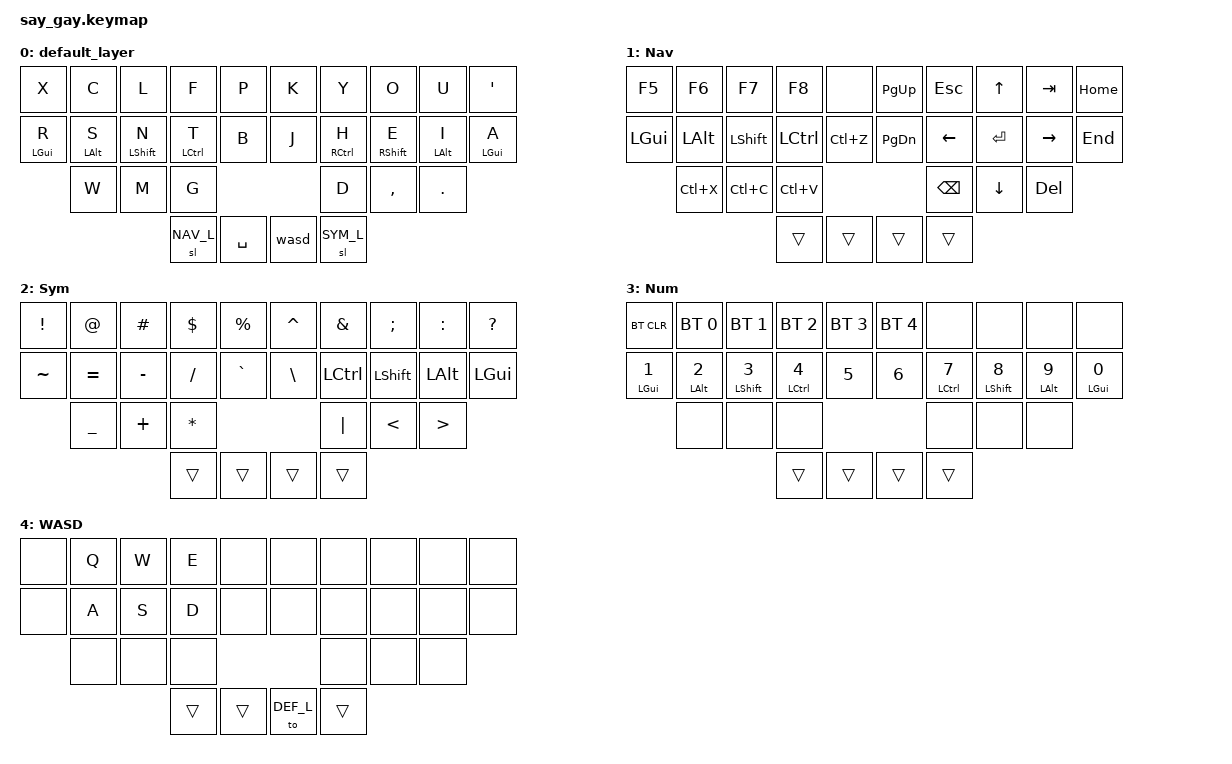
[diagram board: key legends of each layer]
/*
 * Copyright (c) 2020 The ZMK Contributors
 *
 * SPDX-License-Identifier: MIT
 */

#include <behaviors.dtsi>
#include <dt-bindings/zmk/keys.h>
#include <dt-bindings/zmk/bt.h>

/* Layers */
#define DEF_L 0
#define NAV_L 1
#define SYM_L 2
#define NUM_L 3
#define WASD_L 4

/* Shortcuts */
#define CUT LC(X)
#define COPY LC(C)
#define PASTE LC(V)
#define UNDO LC(Z)
#define SALL LC(A)

/* Key position groups */
#define KEYS_L 0 1 2 3 4 10 11 12 13 14 20 21 22
#define KEYS_R 5 6 7 8 9 15 16 17 18 19 23 24 25
#define THUMBS 26 27 28 29

/* Behavior Settings */
&sk {
  release-after-ms = <250>;
  quick-release;
};

&sl {
  release-after-ms = <250>;
};

/ {
    behaviors {
        mtl: mod_tap_left {
            compatible = "zmk,behavior-hold-tap";
            label = "MOD_TAP_LEFT";
            #binding-cells = <2>;
            flavor = "balanced";
            tapping-term-ms = <280>;
            quick-tap-ms = <175>;
            bindings = <&kp>, <&kp>;
            hold-trigger-key-positions = <KEYS_R THUMBS>;
	    hold-trigger-on-release;
        };
        mtr: mod_tap_right {
            compatible = "zmk,behavior-hold-tap";
            label = "MOD_TAP_RIGHT";
            #binding-cells = <2>;
            flavor = "balanced";
            tapping-term-ms = <280>;
            quick-tap-ms = <175>;
            bindings = <&kp>, <&kp>;
            hold-trigger-key-positions = <KEYS_L THUMBS>;
	    hold-trigger-on-release;
        };
        wasd: tap_dance_0 {
            compatible = "zmk,behavior-tap-dance";
            #binding-cells = <0>;
            tapping-term-ms = <200>;
            bindings = <&sl WASD_L>, <&to WASD_L>;
        };
    };
    conditional_layers {
        compatible = "zmk,conditional-layers";
        tri_layer {
            if-layers = <NAV_L SYM_L>;
            then-layer = <NUM_L>;
        };
    };
    combos {
        compatible = "zmk,combos";

	/*
	   0   1   2   3   4          5   6   7   8   9
	  10  11  12  13  14         15  16  17  18  19
	      20  21  22                 23  24  25
		      26  27          28  29
	*/

        /* Letters */
        v { key-positions = <1 2>; bindings = <&kp V>; layers = <DEF_L>; };
        q { key-positions = <2 3>; bindings = <&kp Q>; layers = <DEF_L>; };
        z { key-positions = <20 21>; bindings = <&kp Z>; layers = <DEF_L>; };

        /* Brackets */
        lpar { key-positions = <3 13>; bindings = <&kp LPAR>; layers = <DEF_L SYM_L NUM_L>; };
        rpar { key-positions = <6 16>; bindings = <&kp RPAR>; layers = <DEF_L SYM_L NUM_L>; };
        lbrc { key-positions = <2 12>; bindings = <&kp LBRC>; layers = <DEF_L SYM_L NUM_L>; };
        rbrc { key-positions = <7 17>; bindings = <&kp RBRC>; layers = <DEF_L SYM_L NUM_L>; };
        lbkt { key-positions = <1 11>; bindings = <&kp LBKT>; layers = <DEF_L SYM_L NUM_L>; };
        rbkt { key-positions = <8 18>; bindings = <&kp RBKT>; layers = <DEF_L SYM_L NUM_L>; };

        /* Convenience */
        del { key-positions = <4 14>; bindings = <&kp DEL>; };
        esc { key-positions = <5 15>; bindings = <&kp ESC>; };
        slall { key-positions = <20 21>; bindings = <&kp SALL>; layers = <NAV_L>; };
        tab { key-positions = <11 12 13>; bindings = <&kp TAB>; };
        enter { key-positions = <16 17 18>; bindings = <&kp ENTER>; };
        bspc { key-positions = <7 8>; bindings = <&kp BSPC>; };

    };
    keymap {
        compatible = "zmk,keymap";

        default_layer {

            bindings = <
//╭─────────────┬─────────────┬─────────────┬─────────────┬─────────────╮ ╭─────────────┬─────────────┬─────────────┬─────────────┬─────────────╮
    &kp X         &kp C         &kp L         &kp F         &kp P           &kp K         &kp Y         &kp O         &kp U         &kp QUOT
//├─────────────┼─────────────┼─────────────┼─────────────┼─────────────┤ ├─────────────┼─────────────┼─────────────┼─────────────┼─────────────┤
    &mtl LGUI R   &mtl LALT S   &mtl LSHFT N  &mtl LCTRL T  &kp B           &kp J         &mtr RCTRL H  &mtr RSHFT E  &mtr LALT I   &mtr LGUI A
//╰─────────────┼─────────────┼─────────────┼─────────────┼─────────────╯ ╰─────────────┼─────────────┼─────────────┼─────────────┼─────────────╯
                  &kp W         &kp M         &kp G                                       &kp D         &kp COMMA     &kp DOT
//              ╰─────────────┴─────────────┼─────────────┼─────────────╮ ╭─────────────┼─────────────┼─────────────┴─────────────╯
                                              &sl NAV_L     &kp SPACE       &wasd         &sl SYM_L
//                                          ╰─────────────┴─────────────╯ ╰─────────────┴─────────────╯
            >;
        };

        nav_layer {
	    label = "Nav";
            bindings = <
//╭─────────────┬─────────────┬─────────────┬─────────────┬─────────────╮ ╭─────────────┬─────────────┬─────────────┬─────────────┬─────────────╮
    &kp F5        &kp F6        &kp F7        &kp F8        &none           &kp PG_UP     &kp ESC       &kp UP        &kp TAB       &kp HOME
//├─────────────┼─────────────┼─────────────┼─────────────┼─────────────┤ ├─────────────┼─────────────┼─────────────┼─────────────┼─────────────┤
    &kp LGUI      &kp LALT      &kp LSHFT     &kp LCTL      &kp UNDO        &kp PG_DN     &kp LEFT      &kp ENTER     &kp RIGHT     &kp END
//╰─────────────┼─────────────┼─────────────┼─────────────┼─────────────╯ ╰─────────────┼─────────────┼─────────────┼─────────────┼─────────────╯
                  &kp CUT       &kp COPY      &kp PASTE                                   &kp BSPC      &kp DOWN      &kp DEL
//              ╰─────────────┴─────────────┼─────────────┼─────────────╮ ╭─────────────┼─────────────┼─────────────┴─────────────╯
                                              &trans        &trans          &trans        &trans
//                                          ╰─────────────┴─────────────╯ ╰─────────────┴─────────────╯
            >;
        };

        sym_layer {
            label = "Sym";
            bindings = <
//╭─────────────┬─────────────┬─────────────┬─────────────┬─────────────╮ ╭─────────────┬─────────────┬─────────────┬─────────────┬─────────────╮
    &kp EXCL      &kp AT        &kp HASH      &kp DLLR      &kp PRCNT       &kp CARET     &kp AMPS      &kp SEMI      &kp COLON     &kp QMARK
//├─────────────┼─────────────┼─────────────┼─────────────┼─────────────┤ ├─────────────┼─────────────┼─────────────┼─────────────┼─────────────┤
    &kp TILDE     &kp EQUAL     &kp MINUS     &kp FSLH      &kp GRAVE       &kp BSLH      &kp LCTRL     &kp LSHFT     &kp LALT      &kp LGUI
//╰─────────────┼─────────────┼─────────────┼─────────────┼─────────────╯ ╰─────────────┼─────────────┼─────────────┼─────────────┼─────────────╯
                  &kp UNDER     &kp PLUS      &kp ASTRK                                   &kp PIPE      &kp LT        &kp GT
//              ╰─────────────┴─────────────┼─────────────┼─────────────╮ ╭─────────────┼─────────────┼─────────────┴─────────────╯
                                              &trans        &trans          &trans        &trans
//                                          ╰─────────────┴─────────────╯ ╰─────────────┴─────────────╯
            >;
        };

        num {
            label = "Num";
            bindings = <
//╭─────────────┬─────────────┬─────────────┬─────────────┬─────────────╮ ╭─────────────┬─────────────┬─────────────┬─────────────┬─────────────╮
    &bt BT_CLR    &bt BT_SEL 0  &bt BT_SEL 1  &bt BT_SEL 2  &bt BT_SEL 3    &bt BT_SEL 4  &none         &none         &none         &none
//├─────────────┼─────────────┼─────────────┼─────────────┼─────────────┤ ├─────────────┼─────────────┼─────────────┼─────────────┼─────────────┤
    &mtl LGUI N1  &mtl LALT N2  &mtl LSHFT N3 &mtl LCTRL N4 &kp N5          &kp N6        &mtr LCTRL N7 &mtr LSHFT N8 &mtr LALT N9  &mtr LGUI N0
//╰─────────────┼─────────────┼─────────────┼─────────────┼─────────────╯ ╰─────────────┼─────────────┼─────────────┼─────────────┼─────────────╯
                  &none         &none         &none                                       &none         &none         &none
//              ╰─────────────┴─────────────┼─────────────┼─────────────╮ ╭─────────────┼─────────────┼─────────────┴─────────────╯
                                              &trans        &trans          &trans        &trans
//                                          ╰─────────────┴─────────────╯ ╰─────────────┴─────────────╯
            >;
        };

        wasd {
            label = "WASD";
            bindings = <
//╭─────────────┬─────────────┬─────────────┬─────────────┬─────────────╮ ╭─────────────┬─────────────┬─────────────┬─────────────┬─────────────╮
    &none         &kp Q         &kp W         &kp E         &none           &none         &none         &none         &none         &none
//├─────────────┼─────────────┼─────────────┼─────────────┼─────────────┤ ├─────────────┼─────────────┼─────────────┼─────────────┼─────────────┤
    &none         &kp A         &kp S         &kp D         &none           &none         &none         &none         &none         &none
//╰─────────────┼─────────────┼─────────────┼─────────────┼─────────────╯ ╰─────────────┼─────────────┼─────────────┼─────────────┼─────────────╯
                  &none         &none         &none                                       &none         &none         &none
//              ╰─────────────┴─────────────┼─────────────┼─────────────╮ ╭─────────────┼─────────────┼─────────────┴─────────────╯
                                              &trans        &trans          &to DEF_L     &trans
//                                          ╰─────────────┴─────────────╯ ╰─────────────┴─────────────╯
            >;
        };
    };
};
